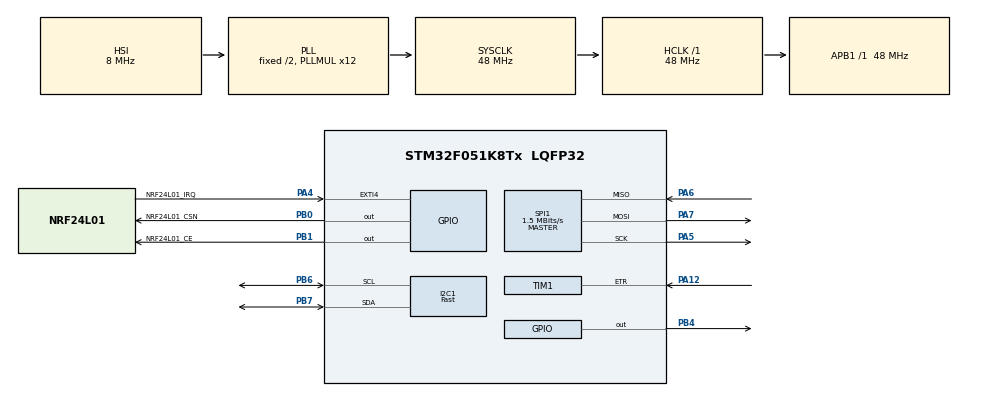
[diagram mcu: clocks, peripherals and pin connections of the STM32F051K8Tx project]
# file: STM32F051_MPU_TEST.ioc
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I2C1.I2C_Speed_Mode=I2C_Fast
I2C1.Timing=0x0000020B
Mcu.Family=STM32F0
Mcu.Name=STM32F051K8Tx
Mcu.Package=LQFP32
NVIC.EXTI4_15_IRQn=true\:0\:0\:false\:false\:true\:true\:true
PA12.Signal=S_TIM1_ETR
PA13.Mode=Serial_Wire
PA13.Signal=SYS_SWDIO
PA14.Mode=Serial_Wire
PA14.Signal=SYS_SWCLK
PA4.GPIO_Label=NRF24L01_IRQ
PA4.GPIO_ModeDefaultEXTI=GPIO_MODE_IT_FALLING
PA4.GPIO_PuPd=GPIO_PULLUP
PA4.Signal=GPXTI4
PA5.Mode=Full_Duplex_Master
PA5.Signal=SPI1_SCK
PA6.Mode=Full_Duplex_Master
PA6.Signal=SPI1_MISO
PA7.Mode=Full_Duplex_Master
PA7.Signal=SPI1_MOSI
PB0.GPIO_Label=NRF24L01_CSN
PB0.GPIO_PuPd=GPIO_PULLUP
PB0.PinState=GPIO_PIN_SET
PB0.Signal=GPIO_Output
PB1.GPIO_Label=NRF24L01_CE
PB1.GPIO_PuPd=GPIO_PULLUP
PB1.Signal=GPIO_Output
PB4.Signal=GPIO_Output
PB6.Mode=I2C
PB6.Signal=I2C1_SCL
PB7.Mode=I2C
PB7.Signal=I2C1_SDA
PF0-OSC_IN.Mode=HSE-External-Oscillator
PF0-OSC_IN.Signal=RCC_OSC_IN
PF1-OSC_OUT.Mode=HSE-External-Oscillator
PF1-OSC_OUT.Signal=RCC_OSC_OUT
ProjectManager.HeapSize=0x200
ProjectManager.StackSize=0x400
ProjectManager.TargetToolchain=MDK-ARM V5.27
RCC.AHBFreq_Value=48000000
RCC.APB1Freq_Value=48000000
RCC.APB1TimFreq_Value=48000000
RCC.HCLKFreq_Value=48000000
RCC.PLLMUL=RCC_PLL_MUL12
RCC.SYSCLKFreq_VALUE=48000000
RCC.SYSCLKSource=RCC_SYSCLKSOURCE_PLLCLK
SH.S_TIM1_ETR.0=TIM1_ETR,TriggerSource_ETR
SPI1.BaudRatePrescaler=SPI_BAUDRATEPRESCALER_32
SPI1.CalculateBaudRate=1.5 MBits/s
SPI1.DataSize=SPI_DATASIZE_8BIT
SPI1.Direction=SPI_DIRECTION_2LINES
SPI1.Mode=SPI_MODE_MASTER
SPI1.NSSPMode=SPI_NSS_PULSE_DISABLE
SPI1.VirtualType=VM_MASTER
TIM1.Channel-Input_Capture1_from_TI1=TIM_CHANNEL_1
TIM1.ICPolarity_CH1=TIM_INPUTCHANNELPOLARITY_FALLING
TIM1.Period=0xFFFF
VP_TIM1_VS_ClockSourceINT.Mode=Internal
VP_TIM1_VS_ControllerModeTrigger.Mode=Trigger Mode
board=custom

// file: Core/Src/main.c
/* USER CODE BEGIN Header */
/**
  ******************************************************************************
  * @file           : main.c
  * @brief          : Main program body
  ******************************************************************************
  * @attention
  *
  * <h2><center>&copy; Copyright (c) 2020 STMicroelectronics.
  * All rights reserved.</center></h2>
  *
  * This software component is licensed by ST under BSD 3-Clause license,
  * the "License"; You may not use this file except in compliance with the
  * License. You may obtain a copy of the License at:
  *                        opensource.org/licenses/BSD-3-Clause
  *
  ******************************************************************************
  */
/* USER CODE END Header */

#include "main.h"
#include "i2c.h"
#include "spi.h"
#include "tim.h"
#include "gpio.h"

/* USER CODE BEGIN Includes */
#include "tm_stm32_nrf24l01.h"
/* USER CODE END Includes */

/* USER CODE BEGIN PTD */
/* My address */
uint8_t MyAddress[] = {
	0xE7,
	0xE7,
	0xE7,
	0xE7,
	0xE7
};
/* Receiver address */
uint8_t TxAddress[] = {
	0x7E,
	0x7E,
	0x7E,
	0x7E,
	0x7E
};

/* Data received and data for send */
uint8_t dataOut[32] = "HELLOSTM32HELLOSTM32hellostm32F0", dataIn[32];

/* Interrupt pin settings */
#define IRQ_PORT    GPIOA
#define IRQ_PIN     GPIO_PIN_4

/* NRF transmission status */
TM_NRF24L01_Transmit_Status_t transmissionStatus;
TM_NRF24L01_IRQ_t NRF_IRQ;

/* Buffer for strings */
char str[40];
/* USER CODE END PTD */

void SystemClock_Config(void);
/* USER CODE BEGIN PFP */

void HAL_GPIO_EXTI_Callback(uint16_t GPIO_Pin) {

	GPIOB->BSRR = GPIO_PIN_4;
		/* Check for proper interrupt pin */
	if (GPIO_Pin == IRQ_PIN) {
		/* Read interrupts */
		TM_NRF24L01_Read_Interrupts(&NRF_IRQ);

		/* Check if transmitted OK */
		if (NRF_IRQ.F.DataSent) {
			/* Save transmission status */
			transmissionStatus = TM_NRF24L01_Transmit_Status_Ok;

			/* Turn off led */
			//TM_DISCO_LedOff(LED_GREEN);

			/* Go back to RX mode */
			TM_NRF24L01_PowerUpRx();
		}

		/* Check if max retransmission reached and last transmission failed */
		if (NRF_IRQ.F.MaxRT) {
			/* Save transmission status */
			transmissionStatus = TM_NRF24L01_Transmit_Status_Lost;

			/* Turn off led */
			//TM_DISCO_LedOff(LED_GREEN);

			/* Go back to RX mode */
			TM_NRF24L01_PowerUpRx();
		}

		/* If data is ready on NRF24L01+ */
		if (NRF_IRQ.F.DataReady) {
			/* Get data from NRF24L01+ */
			TM_NRF24L01_GetData(dataIn);
		}
	}

}

/* USER CODE END PFP */

int main(void)
{

  /* MCU Configuration--------------------------------------------------------*/

  /* Reset of all peripherals, Initializes the Flash interface and the Systick. */
  HAL_Init();

  /* Configure the system clock */
  SystemClock_Config();

  /* Initialize all configured peripherals */
  MX_GPIO_Init();
  MX_I2C1_Init();
  MX_SPI1_Init();
  MX_TIM1_Init();

  /* Infinite loop */
  /* USER CODE BEGIN WHILE */

	/* Initialize NRF24L01+ on channel 15 and 32bytes of payload */
	/* By default 2Mbps data rate and 0dBm output power */
	/* NRF24L01 goes to RX mode by default */
	TM_NRF24L01_Init(15, 32);

	/* Set 2MBps data rate and -18dBm output power */
	TM_NRF24L01_SetRF(TM_NRF24L01_DataRate_2M, TM_NRF24L01_OutputPower_0dBm);

	/* Set my address, 5 bytes */
	TM_NRF24L01_SetMyAddress(MyAddress);

	/* Set TX address, 5 bytes */
	TM_NRF24L01_SetTxAddress(TxAddress);

	/* Attach interrupt for NRF IRQ pin */
	// TM_EXTI_Attach(IRQ_PORT, IRQ_PIN, TM_EXTI_Trigger_Falling);

	/* Reset counter */
	// TM_DELAY_SetTime(2001);

  while (1)
  {

			/* Every 1 seconds */
			HAL_Delay(1000);

		/* Set NRF state to sending */
			transmissionStatus = TM_NRF24L01_Transmit_Status_Sending;

		uint8_t status = TM_NRF24L01_GetStatus();

			/* Transmit data, goes automatically to TX mode */
			TM_NRF24L01_Transmit(dataOut);

		while (transmissionStatus == TM_NRF24L01_Transmit_Status_Sending);

		if (transmissionStatus != TM_NRF24L01_Transmit_Status_Sending) {

			/* Transmission was OK */
			if (transmissionStatus == TM_NRF24L01_Transmit_Status_Ok) {
				__nop();
			}

			/* Message LOST */
			if (transmissionStatus == TM_NRF24L01_Transmit_Status_Lost) {
				__nop();
			}
		}

    /* USER CODE END WHILE */

  }
}

void SystemClock_Config(void)
{
  RCC_OscInitTypeDef RCC_OscInitStruct = {0};
  RCC_ClkInitTypeDef RCC_ClkInitStruct = {0};
  RCC_PeriphCLKInitTypeDef PeriphClkInit = {0};

  /** Initializes the CPU, AHB and APB busses clocks
  */
  RCC_OscInitStruct.OscillatorType = RCC_OSCILLATORTYPE_HSI;
  RCC_OscInitStruct.HSIState = RCC_HSI_ON;
  RCC_OscInitStruct.HSICalibrationValue = RCC_HSICALIBRATION_DEFAULT;
  RCC_OscInitStruct.PLL.PLLState = RCC_PLL_ON;
  RCC_OscInitStruct.PLL.PLLSource = RCC_PLLSOURCE_HSI;
  RCC_OscInitStruct.PLL.PLLMUL = RCC_PLL_MUL12;
  RCC_OscInitStruct.PLL.PREDIV = RCC_PREDIV_DIV1;
  if (HAL_RCC_OscConfig(&RCC_OscInitStruct) != HAL_OK)
  {
    Error_Handler();
  }
  /** Initializes the CPU, AHB and APB busses clocks
  */
  RCC_ClkInitStruct.ClockType = RCC_CLOCKTYPE_HCLK|RCC_CLOCKTYPE_SYSCLK
                              |RCC_CLOCKTYPE_PCLK1;
  RCC_ClkInitStruct.SYSCLKSource = RCC_SYSCLKSOURCE_PLLCLK;
  RCC_ClkInitStruct.AHBCLKDivider = RCC_SYSCLK_DIV1;
  RCC_ClkInitStruct.APB1CLKDivider = RCC_HCLK_DIV1;

  if (HAL_RCC_ClockConfig(&RCC_ClkInitStruct, FLASH_LATENCY_1) != HAL_OK)
  {
    Error_Handler();
  }
  PeriphClkInit.PeriphClockSelection = RCC_PERIPHCLK_I2C1;
  PeriphClkInit.I2c1ClockSelection = RCC_I2C1CLKSOURCE_HSI;
  if (HAL_RCCEx_PeriphCLKConfig(&PeriphClkInit) != HAL_OK)
  {
    Error_Handler();
  }
}

void Error_Handler(void)
{
}

/************************ (C) COPYRIGHT STMicroelectronics *****END OF FILE****/
